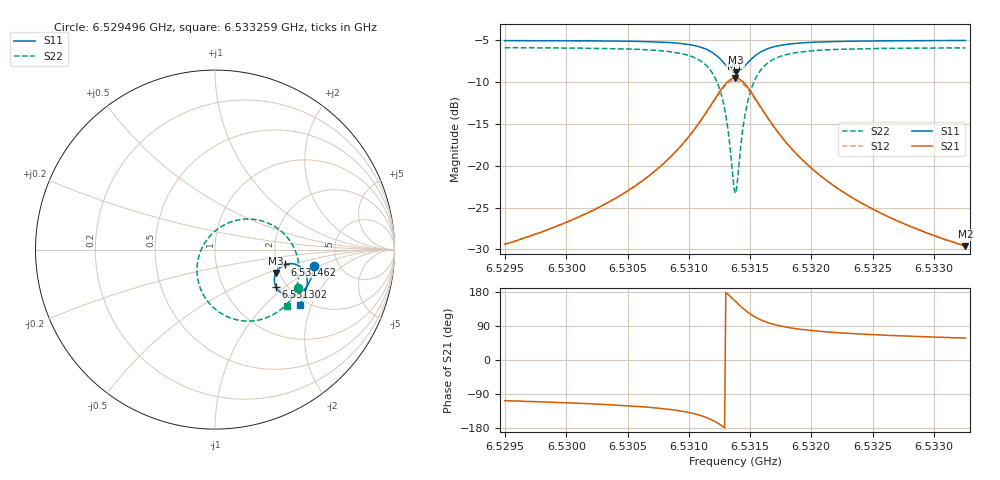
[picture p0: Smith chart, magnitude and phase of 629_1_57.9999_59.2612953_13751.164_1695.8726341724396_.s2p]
#  HZ  S  RI  R  50.00
! Rohde & Schwarz Vector Network Analyzer
! Rohde-Schwarz,ZNB20-2Port,1311601062101988,3.16
! Created: UTC 3/21/2024, 1:18:27 AM
! freq[Hz]  re:S11  im:S11  re:S21  im:S21  re:S12  im:S12  re:S22  im:S22
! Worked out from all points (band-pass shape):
!   401 points, 6.529496 GHz to 6.533259 GHz, reference 50 ohm
!   highest |S21| = -9.49 dB at 6.531377 GHz (marker M1); lowest = -29.6 dB at 6.533259 GHz (marker M2)
!   |S21| within 3 dB of the highest: 6.531191 GHz to 6.531567 GHz (375.9 kHz wide, 0.00575 % of centre)
!   lowest |S11| = -8.8 dB at 6.531386 GHz (marker M3), VSWR 2.14, Z = 95.5 - j28.7 ohm
!   |S11| at or under -10 dB: nowhere
!   |S22| runs from -23.3 to -5.9 dB; largest |S21 - S12| = 0.014
!   S11 on the Smith chart (normalised r, x): 6.529496 GHz: 3.28, -0.90; 6.531302 GHz: 1.76, -0.88; 6.531462 GHz: 2.22, -0.44; 6.533259 GHz: 1.83, -1.64
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6.5294956e9  0.5526 -0.0936  -0.0101 -0.0325  -0.0108 -0.0322  0.462 -0.2124
6.5301259e9  0.5396 -0.147  -0.0209 -0.0459  -0.022 -0.0454  0.4264 -0.2715
6.530474e9  0.5267 -0.1802  -0.0347 -0.0594  -0.0362 -0.0586  0.3904 -0.3132
6.5307562e9  0.5077 -0.2118  -0.059 -0.0775  -0.0613 -0.0759  0.3354 -0.3559
6.530982e9  0.4759 -0.2417  -0.1061 -0.0975  -0.1089 -0.0935  0.2413 -0.3928
6.5311419e9  0.4262 -0.258  -0.1838 -0.0994  -0.1855 -0.0914  0.1006 -0.386
6.531236e9  0.3766 -0.2461  -0.2598 -0.0621  -0.2573 -0.051  -0.0237 -0.3083
6.5312736e9  0.3549 -0.2292  -0.2916 -0.0267  -0.2856 -0.0153  -0.0698 -0.2426
6.5313018e9  0.3412 -0.2101  -0.3102 0.0103  -0.3015 0.0208  -0.0934 -0.1776
6.53133e9  0.3323 -0.1857  -0.3196 0.0554  -0.3086 0.0636  -0.1002 -0.1017
6.5313583e9  0.331 -0.158  -0.3164 0.1045  -0.3037 0.1098  -0.0853 -0.022
6.5313771e9  0.3349 -0.1394  -0.3059 0.1371  -0.293 0.1399  -0.0621 0.0288
6.5313865e9  0.3384 -0.1305  -0.2983 0.1522  -0.2854 0.154  -0.0469 0.0523
6.5314617e9  0.3901 -0.0829  -0.2012 0.2316  -0.1932 0.2274  0.1258 0.1645
6.53149e9  0.4125 -0.0782  -0.1614 0.2395  -0.1555 0.2349  0.1931 0.1704
6.5315276e9  0.4394 -0.0798  -0.1152 0.2365  -0.1113 0.2324  0.2699 0.1571
6.5316217e9  0.4832 -0.1031  -0.0405 0.2012  -0.0389 0.199  0.3903 0.0816
6.5317628e9  0.5084 -0.1423  0.00328 0.1473  0.00448 0.1465  0.4545 -0.0259
6.5320074e9  0.5143 -0.1894  0.0206 0.0936  0.0219 0.0933  0.4682 -0.1359
6.532299e9  0.5076 -0.2262  0.0224 0.0628  0.0235 0.0626  0.4553 -0.2053
6.5326377e9  0.4959 -0.2587  0.0209 0.0445  0.0216 0.0443  0.4358 -0.2542
6.5332586e9  0.4711 -0.3065  0.0176 0.0279  0.0182 0.0277  0.4005 -0.3121
